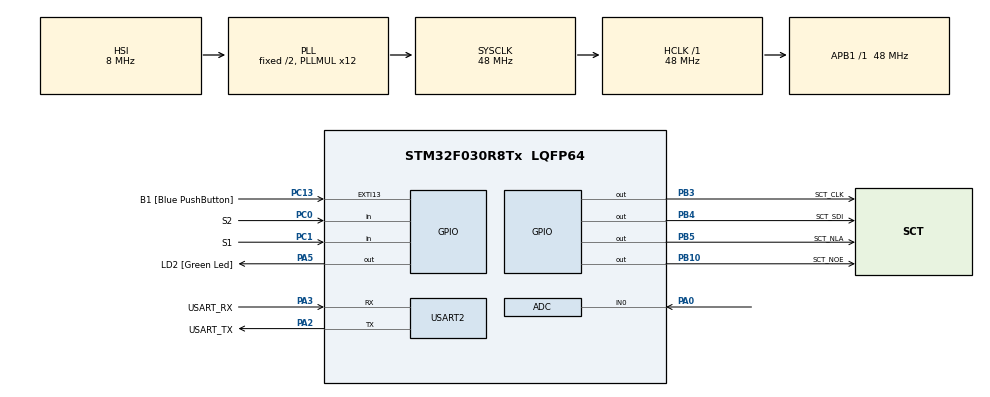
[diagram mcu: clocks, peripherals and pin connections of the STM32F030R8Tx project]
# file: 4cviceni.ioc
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ADC.ContinuousConvMode=ENABLE
ADC.Overrun=ADC_OVR_DATA_OVERWRITTEN
ADC.SamplingTime=ADC_SAMPLETIME_239CYCLES_5
Mcu.Family=STM32F0
Mcu.Name=STM32F030R8Tx
Mcu.Package=LQFP64
NVIC.ADC1_IRQn=true\:0\:0\:false\:false\:true\:true\:true\:true
PA0.Mode=IN0
PA0.Signal=ADC_IN0
PA13.GPIO_Label=TMS
PA13.Mode=Serial_Wire
PA13.Signal=SYS_SWDIO
PA14.GPIO_Label=TCK
PA14.Mode=Serial_Wire
PA14.Signal=SYS_SWCLK
PA2.GPIO_Label=USART_TX
PA2.GPIO_Mode=GPIO_MODE_AF_PP
PA2.GPIO_PuPd=GPIO_NOPULL
PA2.GPIO_Speed=GPIO_SPEED_FREQ_LOW
PA2.Mode=Asynchronous
PA2.Signal=USART2_TX
PA3.GPIO_Label=USART_RX
PA3.GPIO_Mode=GPIO_MODE_AF_PP
PA3.GPIO_PuPd=GPIO_NOPULL
PA3.GPIO_Speed=GPIO_SPEED_FREQ_LOW
PA3.Mode=Asynchronous
PA3.Signal=USART2_RX
PA5.GPIO_Label=LD2 [Green Led]
PA5.GPIO_Mode=GPIO_MODE_OUTPUT_PP
PA5.GPIO_PuPd=GPIO_NOPULL
PA5.GPIO_Speed=GPIO_SPEED_FREQ_LOW
PA5.Signal=GPIO_Output
PB10.GPIO_Label=SCT_NOE
PB10.Signal=GPIO_Output
PB3.GPIO_Label=SCT_CLK
PB3.Signal=GPIO_Output
PB4.GPIO_Label=SCT_SDI
PB4.Signal=GPIO_Output
PB5.GPIO_Label=SCT_NLA
PB5.Signal=GPIO_Output
PC0.GPIO_Label=S2
PC0.GPIO_PuPd=GPIO_PULLUP
PC0.Signal=GPIO_Input
PC1.GPIO_Label=S1
PC1.GPIO_PuPd=GPIO_PULLUP
PC1.Signal=GPIO_Input
PC13.GPIO_Label=B1 [Blue PushButton]
PC13.GPIO_ModeDefaultEXTI=GPIO_MODE_IT_FALLING
PC13.Signal=GPXTI13
PC14-OSC32_IN.Mode=LSE-External-Oscillator
PC14-OSC32_IN.Signal=RCC_OSC32_IN
PC15-OSC32_OUT.Mode=LSE-External-Oscillator
PC15-OSC32_OUT.Signal=RCC_OSC32_OUT
PF0-OSC_IN.Mode=HSE-External-Clock-Source
PF0-OSC_IN.Signal=RCC_OSC_IN
PF1-OSC_OUT.Signal=RCC_OSC_OUT
ProjectManager.HeapSize=0x200
ProjectManager.StackSize=0x400
ProjectManager.TargetToolchain=STM32CubeIDE
RCC.AHBFreq_Value=48000000
RCC.APB1Freq_Value=48000000
RCC.APB1TimFreq_Value=48000000
RCC.HCLKFreq_Value=48000000
RCC.PLLMUL=RCC_PLL_MUL12
RCC.SYSCLKFreq_VALUE=48000000
RCC.SYSCLKSource=RCC_SYSCLKSOURCE_PLLCLK
USART2.VirtualMode-Asynchronous=VM_ASYNC
VP_ADC_TempSens_Input.Mode=IN-TempSens
VP_ADC_Vref_Input.Mode=IN-Vrefint
board=NUCLEO-F030R8

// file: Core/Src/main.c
/* USER CODE BEGIN Header */
/**
  ******************************************************************************
  * @file           : main.c
  * @brief          : Main program body
  ******************************************************************************
  * @attention
  *
  * Copyright (c) 2022 STMicroelectronics.
  * All rights reserved.
  *
  * This software is licensed under terms that can be found in the LICENSE file
  * in the root directory of this software component.
  * If no LICENSE file comes with this software, it is provided AS-IS.
  *
  ******************************************************************************
  */
/* USER CODE END Header */
#include "main.h"

/* USER CODE BEGIN Includes */
#include "sct.h"
/* USER CODE END Includes */

/* USER CODE BEGIN PD */
#define DELAY 50 // 50 ms
#define DELAY_BUTTON 1000 // 1 s
#define ADC_Q 12 // Q = 2^12, exponential accumulation is divided by Q
/* Temperature sensor calibration value address */
#define TEMP110_CAL_ADDR ((uint16_t*) ((uint32_t) 0x1FFFF7C2))
#define TEMP30_CAL_ADDR ((uint16_t*) ((uint32_t) 0x1FFFF7B8))
/* Internal voltage reference calibration value address */
#define VREFINT_CAL_ADDR ((uint16_t*) ((uint32_t) 0x1FFFF7BA))
/* USER CODE END PD */

ADC_HandleTypeDef hadc;

UART_HandleTypeDef huart2;

/* USER CODE BEGIN PV */
static volatile uint32_t raw_pot;
static volatile uint32_t raw_temp;
static volatile uint32_t raw_volt;
/* USER CODE END PV */

void SystemClock_Config(void);
static void MX_GPIO_Init(void);
static void MX_USART2_UART_Init(void);
static void MX_ADC_Init(void);

/* USER CODE BEGIN 0 */
void HAL_ADC_ConvCpltCallback(ADC_HandleTypeDef* hadc) {
	//raw_pot = HAL_ADC_GetValue(hadc); // only this here for working task 1
	/*start of task 2*/ // exponential accumulation algorithm
//	static uint32_t avg_pot;
//	raw_pot = avg_pot >> ADC_Q;
//	avg_pot -= raw_pot;
//	avg_pot += HAL_ADC_GetValue(hadc);
	/*end of task 2*/
	/*start of task 3*/
	static uint32_t avg_pot;
	static uint8_t channel = 0;
	if (channel == 0) { // first sampling is potentiometer and calculating exponential accumulation
		raw_pot = avg_pot >> ADC_Q;
		avg_pot -= raw_pot;
		avg_pot += HAL_ADC_GetValue(hadc);
	}
	if (channel == 1) { // second sampling is temperature of the MCU
		raw_temp = HAL_ADC_GetValue(hadc);
	}
	if (channel == 2) { // third sampling is voltage
		raw_volt = HAL_ADC_GetValue(hadc);
	}
	if (__HAL_ADC_GET_FLAG(hadc, ADC_FLAG_EOS)) channel = 0; // EOS = end of cycle so reset channel
	else channel++;

	/*end of task 3*/
}

/* USER CODE END 0 */

int main(void)
{

  /* MCU Configuration--------------------------------------------------------*/

  /* Reset of all peripherals, Initializes the Flash interface and the Systick. */
  HAL_Init();

  /* Configure the system clock */
  SystemClock_Config();

  /* Initialize all configured peripherals */
  MX_GPIO_Init();
  MX_USART2_UART_Init();
  MX_ADC_Init();
  /* USER CODE BEGIN 2 */
  HAL_ADCEx_Calibration_Start(&hadc);
  HAL_ADC_Start_IT(&hadc);
  sct_init();

  /* USER CODE END 2 */

  /* Infinite loop */
  while (1)
  {

    /* USER CODE BEGIN 3 */
	  static uint32_t LastDisplayTicks = 0;
	  static uint32_t LastDisplayTicksButtons = 0;
	  static uint8_t Barograph = 0;
	  static enum { SHOW_POT, SHOW_VOLT, SHOW_TEMP } state = SHOW_POT;
	  static uint32_t raw_pot_limited = 0;
	  static uint32_t voltage;
	  static int32_t temperature;
	  if (HAL_GetTick() >= LastDisplayTicks + DELAY) { // condition for DELAY delay
		  LastDisplayTicks = HAL_GetTick();
		  if (!HAL_GPIO_ReadPin(GPIOC, S2_Pin)) { // if button S2 is pushed, show SHOW_VOLT
			  state = SHOW_VOLT;
			  LastDisplayTicksButtons = HAL_GetTick();
		  }
		  if (!HAL_GPIO_ReadPin(GPIOC, S1_Pin)) { // if button S1 is pushed, show SHOW_TEMP
			  state = SHOW_TEMP;
			  LastDisplayTicksButtons = HAL_GetTick();
		  }
		  if ((HAL_GetTick() >= LastDisplayTicksButtons + DELAY_BUTTON)) { // after 1 second display returns to SHOW_POT
			  state = SHOW_POT;
		  }
		  switch (state)
		  {
		  	  case SHOW_POT:
		  		  raw_pot_limited = raw_pot*0.1223; // slightly more than 500/2^12 = 0.12207,
		  		  // 0.1223 value was tested and it is better for function
		  		  Barograph = raw_pot * 9 / 4095; // Barograph division (linear function)
		  		  sct_value(raw_pot_limited, Barograph);
		  		  // Barograph 0-8 values are used to switch on 0-8 leds
		  		  break;
		  	  case SHOW_VOLT:
		  		  voltage = 330 * (*VREFINT_CAL_ADDR) / raw_volt; // voltage calculation
		  		  sct_value(voltage, 0);
		  		  break;
		  	  case SHOW_TEMP:
		  		  temperature = (raw_temp - (int32_t)(*TEMP30_CAL_ADDR)); // temperature calculation
		  		  temperature = temperature * (int32_t)(110 - 30);
		  		  temperature = temperature / (int32_t)(*TEMP110_CAL_ADDR - *TEMP30_CAL_ADDR);
		  		  temperature = temperature + 30;
		  		  sct_value(temperature, 0);
		  		  break;
		  	  default:
		  		  state = SHOW_POT;
		  }
	  }
  }
  /* USER CODE END 3 */
}

void SystemClock_Config(void)
{
  RCC_OscInitTypeDef RCC_OscInitStruct = {0};
  RCC_ClkInitTypeDef RCC_ClkInitStruct = {0};

  /** Initializes the RCC Oscillators according to the specified parameters
  * in the RCC_OscInitTypeDef structure.
  */
  RCC_OscInitStruct.OscillatorType = RCC_OSCILLATORTYPE_HSI|RCC_OSCILLATORTYPE_HSI14;
  RCC_OscInitStruct.HSIState = RCC_HSI_ON;
  RCC_OscInitStruct.HSI14State = RCC_HSI14_ON;
  RCC_OscInitStruct.HSICalibrationValue = RCC_HSICALIBRATION_DEFAULT;
  RCC_OscInitStruct.HSI14CalibrationValue = 16;
  RCC_OscInitStruct.PLL.PLLState = RCC_PLL_ON;
  RCC_OscInitStruct.PLL.PLLSource = RCC_PLLSOURCE_HSI;
  RCC_OscInitStruct.PLL.PLLMUL = RCC_PLL_MUL12;
  RCC_OscInitStruct.PLL.PREDIV = RCC_PREDIV_DIV1;
  if (HAL_RCC_OscConfig(&RCC_OscInitStruct) != HAL_OK)
  {
    Error_Handler();
  }

  /** Initializes the CPU, AHB and APB buses clocks
  */
  RCC_ClkInitStruct.ClockType = RCC_CLOCKTYPE_HCLK|RCC_CLOCKTYPE_SYSCLK
                              |RCC_CLOCKTYPE_PCLK1;
  RCC_ClkInitStruct.SYSCLKSource = RCC_SYSCLKSOURCE_PLLCLK;
  RCC_ClkInitStruct.AHBCLKDivider = RCC_SYSCLK_DIV1;
  RCC_ClkInitStruct.APB1CLKDivider = RCC_HCLK_DIV1;

  if (HAL_RCC_ClockConfig(&RCC_ClkInitStruct, FLASH_LATENCY_1) != HAL_OK)
  {
    Error_Handler();
  }
}

static void MX_ADC_Init(void)
{

  ADC_ChannelConfTypeDef sConfig = {0};

  /** Configure the global features of the ADC (Clock, Resolution, Data Alignment and number of conversion)
  */
  hadc.Instance = ADC1;
  hadc.Init.ClockPrescaler = ADC_CLOCK_ASYNC_DIV1;
  hadc.Init.Resolution = ADC_RESOLUTION_12B;
  hadc.Init.DataAlign = ADC_DATAALIGN_RIGHT;
  hadc.Init.ScanConvMode = ADC_SCAN_DIRECTION_FORWARD;
  hadc.Init.EOCSelection = ADC_EOC_SINGLE_CONV;
  hadc.Init.LowPowerAutoWait = DISABLE;
  hadc.Init.LowPowerAutoPowerOff = DISABLE;
  hadc.Init.ContinuousConvMode = ENABLE;
  hadc.Init.DiscontinuousConvMode = DISABLE;
  hadc.Init.ExternalTrigConv = ADC_SOFTWARE_START;
  hadc.Init.ExternalTrigConvEdge = ADC_EXTERNALTRIGCONVEDGE_NONE;
  hadc.Init.DMAContinuousRequests = DISABLE;
  hadc.Init.Overrun = ADC_OVR_DATA_OVERWRITTEN;
  if (HAL_ADC_Init(&hadc) != HAL_OK)
  {
    Error_Handler();
  }

  /** Configure for the selected ADC regular channel to be converted.
  */
  sConfig.Channel = ADC_CHANNEL_0;
  sConfig.Rank = ADC_RANK_CHANNEL_NUMBER;
  sConfig.SamplingTime = ADC_SAMPLETIME_239CYCLES_5;
  if (HAL_ADC_ConfigChannel(&hadc, &sConfig) != HAL_OK)
  {
    Error_Handler();
  }

  /** Configure for the selected ADC regular channel to be converted.
  */
  sConfig.Channel = ADC_CHANNEL_TEMPSENSOR;
  if (HAL_ADC_ConfigChannel(&hadc, &sConfig) != HAL_OK)
  {
    Error_Handler();
  }

  /** Configure for the selected ADC regular channel to be converted.
  */
  sConfig.Channel = ADC_CHANNEL_VREFINT;
  if (HAL_ADC_ConfigChannel(&hadc, &sConfig) != HAL_OK)
  {
    Error_Handler();
  }

}

static void MX_USART2_UART_Init(void)
{

  huart2.Instance = USART2;
  huart2.Init.BaudRate = 38400;
  huart2.Init.WordLength = UART_WORDLENGTH_8B;
  huart2.Init.StopBits = UART_STOPBITS_1;
  huart2.Init.Parity = UART_PARITY_NONE;
  huart2.Init.Mode = UART_MODE_TX_RX;
  huart2.Init.HwFlowCtl = UART_HWCONTROL_NONE;
  huart2.Init.OverSampling = UART_OVERSAMPLING_16;
  huart2.Init.OneBitSampling = UART_ONE_BIT_SAMPLE_DISABLE;
  huart2.AdvancedInit.AdvFeatureInit = UART_ADVFEATURE_NO_INIT;
  if (HAL_UART_Init(&huart2) != HAL_OK)
  {
    Error_Handler();
  }

}

static void MX_GPIO_Init(void)
{
  GPIO_InitTypeDef GPIO_InitStruct = {0};

  /* GPIO Ports Clock Enable */
  __HAL_RCC_GPIOC_CLK_ENABLE();
  __HAL_RCC_GPIOF_CLK_ENABLE();
  __HAL_RCC_GPIOA_CLK_ENABLE();
  __HAL_RCC_GPIOB_CLK_ENABLE();

  /*Configure GPIO pin Output Level */
  HAL_GPIO_WritePin(GPIOA, GPIO_PIN_5, GPIO_PIN_RESET);

  /*Configure GPIO pin Output Level */
  HAL_GPIO_WritePin(GPIOB, GPIO_PIN_10|GPIO_PIN_3|GPIO_PIN_4|GPIO_PIN_5, GPIO_PIN_RESET);

  /*Configure GPIO pin : PC13 */
  GPIO_InitStruct.Pin = GPIO_PIN_13;
  GPIO_InitStruct.Mode = GPIO_MODE_IT_FALLING;
  GPIO_InitStruct.Pull = GPIO_NOPULL;
  HAL_GPIO_Init(GPIOC, &GPIO_InitStruct);

  /*Configure GPIO pins : PC0 PC1 */
  GPIO_InitStruct.Pin = GPIO_PIN_0|GPIO_PIN_1;
  GPIO_InitStruct.Mode = GPIO_MODE_INPUT;
  GPIO_InitStruct.Pull = GPIO_PULLUP;
  HAL_GPIO_Init(GPIOC, &GPIO_InitStruct);

  /*Configure GPIO pin : PA5 */
  GPIO_InitStruct.Pin = GPIO_PIN_5;
  GPIO_InitStruct.Mode = GPIO_MODE_OUTPUT_PP;
  GPIO_InitStruct.Pull = GPIO_NOPULL;
  GPIO_InitStruct.Speed = GPIO_SPEED_FREQ_LOW;
  HAL_GPIO_Init(GPIOA, &GPIO_InitStruct);

  /*Configure GPIO pins : PB10 PB3 PB4 PB5 */
  GPIO_InitStruct.Pin = GPIO_PIN_10|GPIO_PIN_3|GPIO_PIN_4|GPIO_PIN_5;
  GPIO_InitStruct.Mode = GPIO_MODE_OUTPUT_PP;
  GPIO_InitStruct.Pull = GPIO_NOPULL;
  GPIO_InitStruct.Speed = GPIO_SPEED_FREQ_LOW;
  HAL_GPIO_Init(GPIOB, &GPIO_InitStruct);

}

void Error_Handler(void)
{
  __disable_irq();
  while (1)
  {
  }
}
